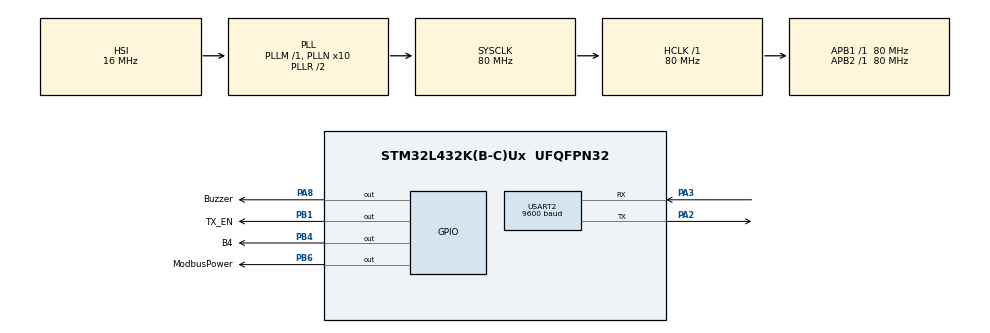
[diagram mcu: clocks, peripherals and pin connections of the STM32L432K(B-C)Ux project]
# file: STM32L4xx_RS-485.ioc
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Mcu.Family=STM32L4
Mcu.Name=STM32L432K(B-C)Ux
Mcu.Package=UFQFPN32
NVIC.PriorityGroup=NVIC_PRIORITYGROUP_4
NVIC.RTC_WKUP_IRQn=true\:0\:0\:false\:false\:true\:true\:true\:true
NVIC.USART2_IRQn=true\:0\:0\:false\:false\:true\:true\:true\:true
PA13\ (JTMS-SWDIO).Mode=Trace_Asynchronous_SW
PA13\ (JTMS-SWDIO).Signal=SYS_JTMS-SWDIO
PA14\ (JTCK-SWCLK).Mode=Trace_Asynchronous_SW
PA14\ (JTCK-SWCLK).Signal=SYS_JTCK-SWCLK
PA2.Mode=Asynchronous
PA2.Signal=USART2_TX
PA3.Mode=Asynchronous
PA3.Signal=USART2_RX
PA8.GPIO_Label=Buzzer
PA8.Signal=GPIO_Output
PB1.GPIO_Label=TX_EN
PB1.Signal=GPIO_Output
PB3\ (JTDO-TRACESWO).Mode=Trace_Asynchronous_SW
PB3\ (JTDO-TRACESWO).Signal=SYS_JTDO-SWO
PB4\ (NJTRST).GPIO_Label=B4
PB4\ (NJTRST).Signal=GPIO_Output
PB6.GPIO_Label=ModbusPower
PB6.Signal=GPIO_Output
PC14-OSC32_IN\ (PC14).Mode=LSE-External-Oscillator
PC14-OSC32_IN\ (PC14).Signal=RCC_OSC32_IN
PC15-OSC32_OUT\ (PC15).Mode=LSE-External-Oscillator
PC15-OSC32_OUT\ (PC15).Signal=RCC_OSC32_OUT
ProjectManager.HeapSize=0x200
ProjectManager.StackSize=0x400
ProjectManager.TargetToolchain=STM32CubeIDE
RCC.ADCFreq_Value=64000000
RCC.AHBFreq_Value=80000000
RCC.APB1Freq_Value=80000000
RCC.APB1TimFreq_Value=80000000
RCC.APB2Freq_Value=80000000
RCC.APB2TimFreq_Value=80000000
RCC.CortexFreq_Value=80000000
RCC.HCLKFreq_Value=80000000
RCC.HSE_VALUE=8000000
RCC.HSI48_VALUE=48000000
RCC.HSI_VALUE=16000000
RCC.MSI_VALUE=4000000
RCC.PLLN=10
RCC.PLLSAI1Q=RCC_PLLQ_DIV4
RCC.PLLSourceVirtual=RCC_PLLSOURCE_HSI
RCC.RTCClockSelection=RCC_RTCCLKSOURCE_LSE
RCC.SYSCLKFreq_VALUE=80000000
RCC.SYSCLKSource=RCC_SYSCLKSOURCE_PLLCLK
RCC.USBFreq_Value=32000000
RCC.VCOOutputFreq_Value=160000000
RTC.WakeUpClock=RTC_WAKEUPCLOCK_CK_SPRE_16BITS
USART2.BaudRate=9600
USART2.VirtualMode-Asynchronous=VM_ASYNC
VP_RNG_VS_RNG.Mode=RNG_Activate
VP_RTC_VS_RTC_Activate.Mode=RTC_Enabled
VP_RTC_VS_RTC_Calendar.Mode=RTC_Calendar
VP_RTC_VS_RTC_WakeUp_intern.Mode=WakeUp
board=custom

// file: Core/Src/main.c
/* USER CODE BEGIN Header */
/**
  ******************************************************************************
  * @file           : main.c
  * @brief          : Main program body
  ******************************************************************************
  * @attention
  *
  * Copyright (c) 2023 STMicroelectronics.
  * All rights reserved.
  *
  * This software is licensed under terms that can be found in the LICENSE file
  * in the root directory of this software component.
  * If no LICENSE file comes with this software, it is provided AS-IS.
  *
  ******************************************************************************
  */
/* USER CODE END Header */
#include "main.h"

/* USER CODE BEGIN Includes */
#include "modbus_crc.h"
#include <stdio.h>
#include <stdlib.h>
/* USER CODE END Includes */

RNG_HandleTypeDef hrng;
RTC_HandleTypeDef hrtc;
UART_HandleTypeDef huart2;

/* USER CODE BEGIN PV */
uint8_t RxData[9], RxData1[9], RxData2[9], RxData3[9], RxData4[9], RxData5[9], RxData6[9];
uint8_t Do[4], Sat[4], Temp[4], Orp[4], Ph[4], Ec[4], Sal[4];
uint8_t TxData[8];
float DoF, TempF;
char *text;
/* USER CODE END PV */

void SystemClock_Config(void);
static void MX_GPIO_Init(void);
static void MX_RNG_Init(void);
static void MX_RTC_Init(void);
static void MX_USART2_UART_Init(void);

/* USER CODE BEGIN 0 */
int _write(int file, char *ptr, int len) {
	int DataIdx;
	for (DataIdx = 0; DataIdx < len; DataIdx++)
		ITM_SendChar((*ptr++));
	return len;
}

void Req_data_Modbbus(uint8_t *data) {
	HAL_GPIO_WritePin(TX_EN_GPIO_Port, TX_EN_Pin, GPIO_PIN_SET);
	HAL_UART_Transmit(&huart2, data, 8, 1000);
	HAL_GPIO_WritePin(TX_EN_GPIO_Port, TX_EN_Pin, GPIO_PIN_RESET);
}

void HAL_UARTEx_RxEventCallback(UART_HandleTypeDef *huart, uint16_t Size){
    uint8_t *RxDataArr[] = {RxData, RxData1, RxData2, RxData3, RxData4, RxData5, RxData6};
    uint8_t *DataArr[] = {Do, Temp, Sat, Ph, Ec, Sal, Orp};
    for (int i = 0; i < 7; i++) {
		DataArr[i][0] = RxDataArr[i][3];
		DataArr[i][1] = RxDataArr[i][4];
		DataArr[i][2] = RxDataArr[i][5];
		DataArr[i][3] = RxDataArr[i][6];
    }
}

void modbus(uint8_t slaveAddr, uint8_t functCode, uint8_t startAddr1, uint8_t startAddr2, uint8_t dataLen1, uint8_t dataLen2, int typeSensor){
	uint8_t* RxDataArr[] = {RxData, RxData1, RxData2, RxData3, RxData4, RxData5, RxData6};
	uint8_t* dataValArr[] = {Do, Temp, Sat, Ph, Ec, Sal, Orp};
	uint8_t* dataFrameArr[] = {&slaveAddr, &functCode, &startAddr1, &startAddr2, &dataLen1, &dataLen2};
	const char* labels[] = {"Dissolved Oxygen", "Temperature", "Saturation", "PH", "Electrical Conductivity", "Salinity", "ORP"};
	if (typeSensor >= 0 && typeSensor <= 6)
	    HAL_UARTEx_ReceiveToIdle_IT(&huart2, RxDataArr[typeSensor], 32);
	for (int i = 0; i < 6; i++)
		TxData[i] = *dataFrameArr[i];
	uint16_t crc = crc16(TxData, 6);
	TxData[6] = crc & 0xFF;   // CRC LOW
	TxData[7] = (crc >> 8) & 0xFF;  // CRC HIGH
	Req_data_Modbbus(TxData);
	char str_Hex[20], *p_Hex = str_Hex;
	if (typeSensor >= 0 && typeSensor <= 6){
		for (int i = 0; i < sizeof(dataValArr[typeSensor]); i++)
			p_Hex += sprintf(p_Hex, "%02x", dataValArr[typeSensor][i]);
		sprintf(text, "%s value : %s", labels[typeSensor], str_Hex);
		printf(text);
	}
}
/* USER CODE END 0 */

int main(void)
{

  /* MCU Configuration--------------------------------------------------------*/

  /* Reset of all peripherals, Initializes the Flash interface and the Systick. */
  HAL_Init();

  /* Configure the system clock */
  SystemClock_Config();

  /* Initialize all configured peripherals */
  MX_GPIO_Init();
  MX_RNG_Init();
  MX_RTC_Init();
  MX_USART2_UART_Init();
  /* USER CODE BEGIN 2 */
  text = malloc(512);
  HAL_GPIO_WritePin(B4_GPIO_Port, B4_Pin, SET);
  HAL_GPIO_WritePin(ModbusPower_GPIO_Port, ModbusPower_Pin, SET);
  /* USER CODE END 2 */

  /* Infinite loop */
  while (1)
  {

    /* USER CODE BEGIN 3 */
	modbus(0x01, 0x03, 0x00, 0x02, 0x00, 0x01, 0); //Dissolved Oxygen
	HAL_Delay(750);
	modbus(0x01, 0x03, 0x00, 0x01, 0x00, 0x01, 1); //Temperature
	HAL_Delay(750);
	modbus(0x03, 0x03, 0x00, 0x00, 0x00, 0x02, 3); //PH
	HAL_Delay(750);
	modbus(0x04, 0x03, 0x00, 0x00, 0x00, 0x02, 4); //Electrical Conductivity
	HAL_Delay(750);
	modbus(0x04, 0x03, 0x00, 0x06, 0x00, 0x02, 5); //Salinity
	HAL_Delay(750);
  }
  /* USER CODE END 3 */
}

void SystemClock_Config(void)
{
  RCC_OscInitTypeDef RCC_OscInitStruct = {0};
  RCC_ClkInitTypeDef RCC_ClkInitStruct = {0};

  /** Configure the main internal regulator output voltage
  */
  if (HAL_PWREx_ControlVoltageScaling(PWR_REGULATOR_VOLTAGE_SCALE1) != HAL_OK)
  {
    Error_Handler();
  }

  /** Configure LSE Drive Capability
  */
  HAL_PWR_EnableBkUpAccess();
  __HAL_RCC_LSEDRIVE_CONFIG(RCC_LSEDRIVE_LOW);

  /** Initializes the RCC Oscillators according to the specified parameters
  * in the RCC_OscInitTypeDef structure.
  */
  RCC_OscInitStruct.OscillatorType = RCC_OSCILLATORTYPE_HSI|RCC_OSCILLATORTYPE_LSE;
  RCC_OscInitStruct.LSEState = RCC_LSE_ON;
  RCC_OscInitStruct.HSIState = RCC_HSI_ON;
  RCC_OscInitStruct.HSICalibrationValue = RCC_HSICALIBRATION_DEFAULT;
  RCC_OscInitStruct.PLL.PLLState = RCC_PLL_ON;
  RCC_OscInitStruct.PLL.PLLSource = RCC_PLLSOURCE_HSI;
  RCC_OscInitStruct.PLL.PLLM = 1;
  RCC_OscInitStruct.PLL.PLLN = 10;
  RCC_OscInitStruct.PLL.PLLP = RCC_PLLP_DIV7;
  RCC_OscInitStruct.PLL.PLLQ = RCC_PLLQ_DIV2;
  RCC_OscInitStruct.PLL.PLLR = RCC_PLLR_DIV2;
  if (HAL_RCC_OscConfig(&RCC_OscInitStruct) != HAL_OK)
  {
    Error_Handler();
  }

  /** Initializes the CPU, AHB and APB buses clocks
  */
  RCC_ClkInitStruct.ClockType = RCC_CLOCKTYPE_HCLK|RCC_CLOCKTYPE_SYSCLK
                              |RCC_CLOCKTYPE_PCLK1|RCC_CLOCKTYPE_PCLK2;
  RCC_ClkInitStruct.SYSCLKSource = RCC_SYSCLKSOURCE_PLLCLK;
  RCC_ClkInitStruct.AHBCLKDivider = RCC_SYSCLK_DIV1;
  RCC_ClkInitStruct.APB1CLKDivider = RCC_HCLK_DIV1;
  RCC_ClkInitStruct.APB2CLKDivider = RCC_HCLK_DIV1;

  if (HAL_RCC_ClockConfig(&RCC_ClkInitStruct, FLASH_LATENCY_4) != HAL_OK)
  {
    Error_Handler();
  }
}

static void MX_RNG_Init(void)
{

  hrng.Instance = RNG;
  if (HAL_RNG_Init(&hrng) != HAL_OK)
  {
    Error_Handler();
  }

}

static void MX_RTC_Init(void)
{

  RTC_TimeTypeDef sTime = {0};
  RTC_DateTypeDef sDate = {0};

  /** Initialize RTC Only
  */
  hrtc.Instance = RTC;
  hrtc.Init.HourFormat = RTC_HOURFORMAT_24;
  hrtc.Init.AsynchPrediv = 127;
  hrtc.Init.SynchPrediv = 255;
  hrtc.Init.OutPut = RTC_OUTPUT_DISABLE;
  hrtc.Init.OutPutRemap = RTC_OUTPUT_REMAP_NONE;
  hrtc.Init.OutPutPolarity = RTC_OUTPUT_POLARITY_HIGH;
  hrtc.Init.OutPutType = RTC_OUTPUT_TYPE_OPENDRAIN;
  if (HAL_RTC_Init(&hrtc) != HAL_OK)
  {
    Error_Handler();
  }

  /** Initialize RTC and set the Time and Date
  */
  sTime.Hours = 0x0;
  sTime.Minutes = 0x0;
  sTime.Seconds = 0x0;
  sTime.DayLightSaving = RTC_DAYLIGHTSAVING_NONE;
  sTime.StoreOperation = RTC_STOREOPERATION_RESET;
  if (HAL_RTC_SetTime(&hrtc, &sTime, RTC_FORMAT_BCD) != HAL_OK)
  {
    Error_Handler();
  }
  sDate.WeekDay = RTC_WEEKDAY_MONDAY;
  sDate.Month = RTC_MONTH_JANUARY;
  sDate.Date = 0x1;
  sDate.Year = 0x0;

  if (HAL_RTC_SetDate(&hrtc, &sDate, RTC_FORMAT_BCD) != HAL_OK)
  {
    Error_Handler();
  }

}

static void MX_USART2_UART_Init(void)
{

  huart2.Instance = USART2;
  huart2.Init.BaudRate = 9600;
  huart2.Init.WordLength = UART_WORDLENGTH_8B;
  huart2.Init.StopBits = UART_STOPBITS_1;
  huart2.Init.Parity = UART_PARITY_NONE;
  huart2.Init.Mode = UART_MODE_TX_RX;
  huart2.Init.HwFlowCtl = UART_HWCONTROL_NONE;
  huart2.Init.OverSampling = UART_OVERSAMPLING_16;
  huart2.Init.OneBitSampling = UART_ONE_BIT_SAMPLE_DISABLE;
  huart2.AdvancedInit.AdvFeatureInit = UART_ADVFEATURE_NO_INIT;
  if (HAL_UART_Init(&huart2) != HAL_OK)
  {
    Error_Handler();
  }

}

static void MX_GPIO_Init(void)
{
  GPIO_InitTypeDef GPIO_InitStruct = {0};

  /* GPIO Ports Clock Enable */
  __HAL_RCC_GPIOC_CLK_ENABLE();
  __HAL_RCC_GPIOA_CLK_ENABLE();
  __HAL_RCC_GPIOB_CLK_ENABLE();

  /*Configure GPIO pin Output Level */
  HAL_GPIO_WritePin(GPIOB, TX_EN_Pin|B4_Pin|ModbusPower_Pin, GPIO_PIN_RESET);

  /*Configure GPIO pin Output Level */
  HAL_GPIO_WritePin(Buzzer_GPIO_Port, Buzzer_Pin, GPIO_PIN_RESET);

  /*Configure GPIO pins : TX_EN_Pin B4_Pin ModbusPower_Pin */
  GPIO_InitStruct.Pin = TX_EN_Pin|B4_Pin|ModbusPower_Pin;
  GPIO_InitStruct.Mode = GPIO_MODE_OUTPUT_PP;
  GPIO_InitStruct.Pull = GPIO_NOPULL;
  GPIO_InitStruct.Speed = GPIO_SPEED_FREQ_LOW;
  HAL_GPIO_Init(GPIOB, &GPIO_InitStruct);

  /*Configure GPIO pin : Buzzer_Pin */
  GPIO_InitStruct.Pin = Buzzer_Pin;
  GPIO_InitStruct.Mode = GPIO_MODE_OUTPUT_PP;
  GPIO_InitStruct.Pull = GPIO_NOPULL;
  GPIO_InitStruct.Speed = GPIO_SPEED_FREQ_LOW;
  HAL_GPIO_Init(Buzzer_GPIO_Port, &GPIO_InitStruct);

}

void Error_Handler(void)
{
  __disable_irq();
  while (1)
  {
  }
}
